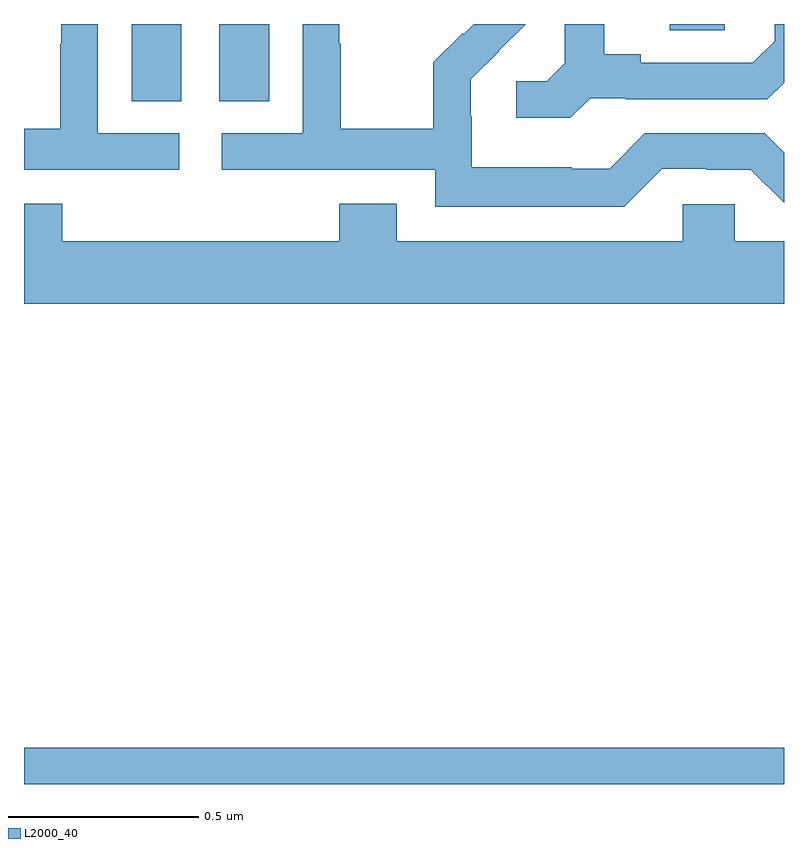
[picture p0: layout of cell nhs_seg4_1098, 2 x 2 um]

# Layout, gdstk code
import gdstk
lib = gdstk.Library(unit=1e-6, precision=1e-09)
def R(c, l, rs):  # rectangles x0, y0, x1, y1
    for r in rs: c.add(gdstk.rectangle(r[:2], r[2:], *l))
def P(c, l, *ps):  # polygons
    for p in ps: c.add(gdstk.Polygon(p, *l))
L2000_40 = (2000, 40)

nhs_seg4_1098 = lib.new_cell('nhs_seg4_1098')
R(nhs_seg4_1098, L2000_40, [(124,784.9,126,784.996), (124.283,786.697,124.414,786.9), (124.514,786.697,124.645,786.9), (125.699,786.883,125.844,786.9)])
P(nhs_seg4_1098, L2000_40, [(125.679,786.519),(125.795,786.519),(125.795,786.516),(125.913,786.516),(126,786.429),(126,786.561),(125.949,786.612),(125.634,786.612),(125.541,786.519),(125.441,786.519),(125.441,786.523),(125.178,786.523),(125.178,786.657),(125.176,786.657),(125.176,786.754),(125.25,786.828),(125.249,786.829),(125.32,786.9),(125.184,786.9),(125.157,786.873),(125.154,786.876),(125.077,786.799),(125.077,786.625),(124.833,786.625),(124.833,786.848),(124.83,786.848),(124.83,786.9),(124.734,786.9),(124.734,786.612),(124.521,786.612),(124.521,786.516),(125.082,786.516),(125.082,786.419),(125.579,786.419)],
  [(124.408,786.612),(124.194,786.612),(124.194,786.9),(124.098,786.9),(124.098,786.848),(124.096,786.848),(124.096,786.625),(124,786.625),(124,786.516),(124.408,786.516)],
  [(125.49,786.705),(125.584,786.705),(125.584,786.702),(125.956,786.702),(126,786.746),(126,786.9),(125.975,786.9),(125.975,786.855),(125.918,786.798),(125.623,786.798),(125.623,786.821),(125.527,786.821),(125.527,786.9),(125.423,786.9),(125.423,786.797),(125.376,786.75),(125.295,786.75),(125.295,786.653),(125.438,786.653)],
  [(126,786.328),(125.871,786.328),(125.871,786.426),(125.733,786.426),(125.733,786.328),(124.981,786.328),(124.981,786.427),(124.829,786.427),(124.829,786.328),(124.1,786.328),(124.1,786.427),(124,786.427),(124,786.164),(126,786.164)])

lib.write_gds('nhs_seg4_1098.gds')
